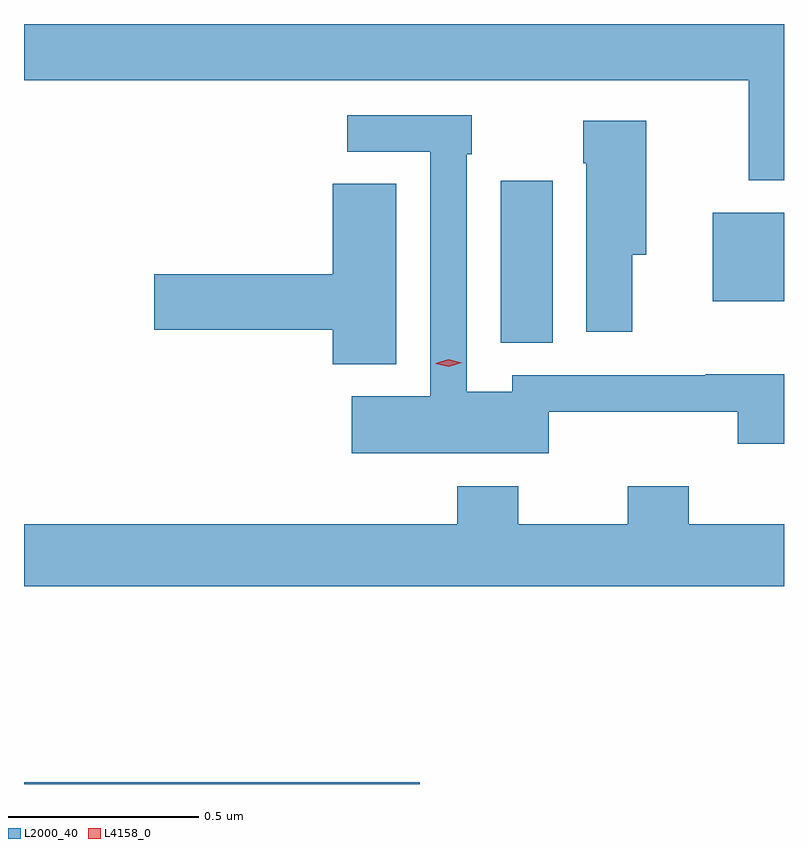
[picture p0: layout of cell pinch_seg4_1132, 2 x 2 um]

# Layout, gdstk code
import gdstk
lib = gdstk.Library(unit=1e-6, precision=1e-09)
def R(c, l, rs):  # rectangles x0, y0, x1, y1
    for r in rs: c.add(gdstk.rectangle(r[:2], r[2:], *l))
def P(c, l, *ps):  # polygons
    for p in ps: c.add(gdstk.Polygon(p, *l))
L2000_40 = (2000, 40)
L4158_0 = (4158, 0)

pinch_seg4_1132 = lib.new_cell('pinch_seg4_1132')
R(pinch_seg4_1132, L2000_40, [(402.755,792.304,403.796,792.308), (404.009,793.465,404.146,793.891), (404.567,793.574,404.755,793.807)])
P(pinch_seg4_1132, L2000_40, [(404.755,794.304),(402.755,794.304),(402.755,794.156),(404.662,794.156),(404.662,793.893),(404.755,793.893)],
  [(404.136,793.283),(404.633,793.283),(404.633,793.2),(404.755,793.2),(404.755,793.382),(404.549,793.382),(404.549,793.38),(404.04,793.38),(404.04,793.336),(403.92,793.336),(403.92,793.961),(403.933,793.961),(403.933,794.064),(403.605,794.064),(403.605,793.968),(403.824,793.968),(403.824,793.324),(403.617,793.324),(403.617,793.175),(404.136,793.175)],
  [(404.356,793.697),(404.392,793.697),(404.392,794.05),(404.227,794.05),(404.227,793.937),(404.234,793.937),(404.234,793.494),(404.356,793.494)],
  [(403.735,793.883),(403.568,793.883),(403.568,793.646),(403.098,793.646),(403.098,793.499),(403.568,793.499),(403.568,793.409),(403.735,793.409)],
  [(404.755,792.988),(404.504,792.988),(404.504,793.087),(404.344,793.087),(404.344,792.988),(404.055,792.988),(404.055,793.087),(403.895,793.087),(403.895,792.988),(402.755,792.988),(402.755,792.824),(404.755,792.824)])
P(pinch_seg4_1132, L4158_0, [(403.873,793.402),(403.838,793.41),(403.838,793.411),(403.838,793.411),(403.872,793.422),(403.907,793.413),(403.908,793.413),(403.907,793.413)])

lib.write_gds('pinch_seg4_1132.gds')
